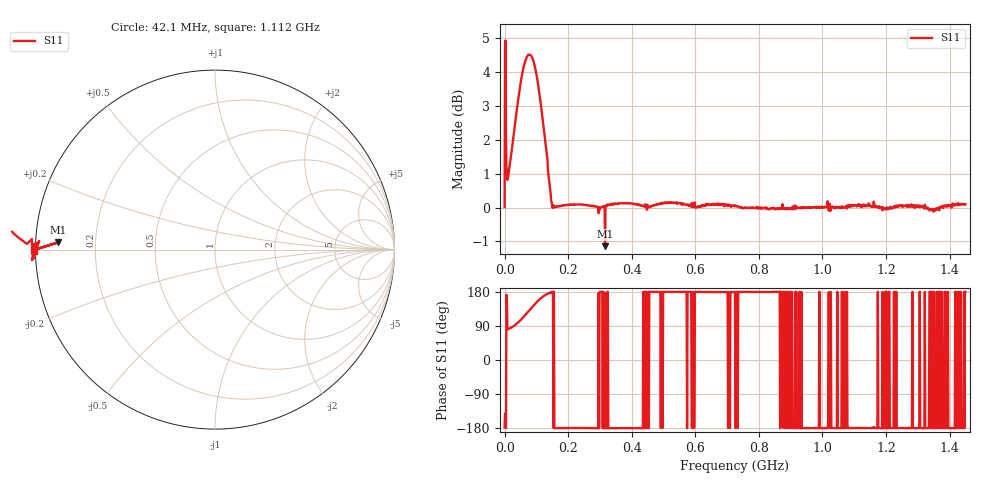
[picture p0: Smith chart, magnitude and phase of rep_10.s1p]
! Created with skrf 1.11.0 (http://scikit-rf.org).
# Hz S RI R 50.0
!freq ReS11 ImS11
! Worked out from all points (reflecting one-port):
!   1001 points, 50 kHz to 1.45 GHz, reference 50 ohm
!   lowest |S11| = -1.1 dB at 316.1 MHz (marker M1), VSWR 15.22, Z = 3.29 + j1.12 ohm
!   phase of S11 starts at -178 deg and turns -2 deg over the sweep
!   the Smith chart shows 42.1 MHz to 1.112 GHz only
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50000  -1.001 -0.0423
8749700  0.1884 1.082
1.019965e7  0.1778 1.091
1.16496e7  0.167 1.102
1.599945e7  0.1349 1.143
2.759905e7  0.021 1.269
3.629875e7  -0.1077 1.365
4.64484e7  -0.3113 1.454
5.51481e7  -0.5242 1.485
6.38478e7  -0.7564 1.454
7.399745e7  -1.02 1.336
8.7047e7  -1.277 1.07
9.86466e7  -1.385 0.7756
1.073463e8  -1.389 0.5606
1.17496e8  -1.335 0.353
1.261956e8  -1.258 0.2124
1.363453e8  -1.13 0.0993
1.43595e8  -1.059 0.0403
1.522948e8  -1.002 0.00108
1.812938e8  -1.006 -0.00636
3.161391e8  -0.8758 0.0396
3.625375e8  -1.015 -0.00317
5.437812e8  -1.016 0.00301
7.25025e8  -1.007 0.0129
9.062688e8  -1.004 -0.00513
1.087512e9  -1.003 -0.0145
1.268756e9  -1.002 -0.009
1.45e9  -1.012 0.000944
